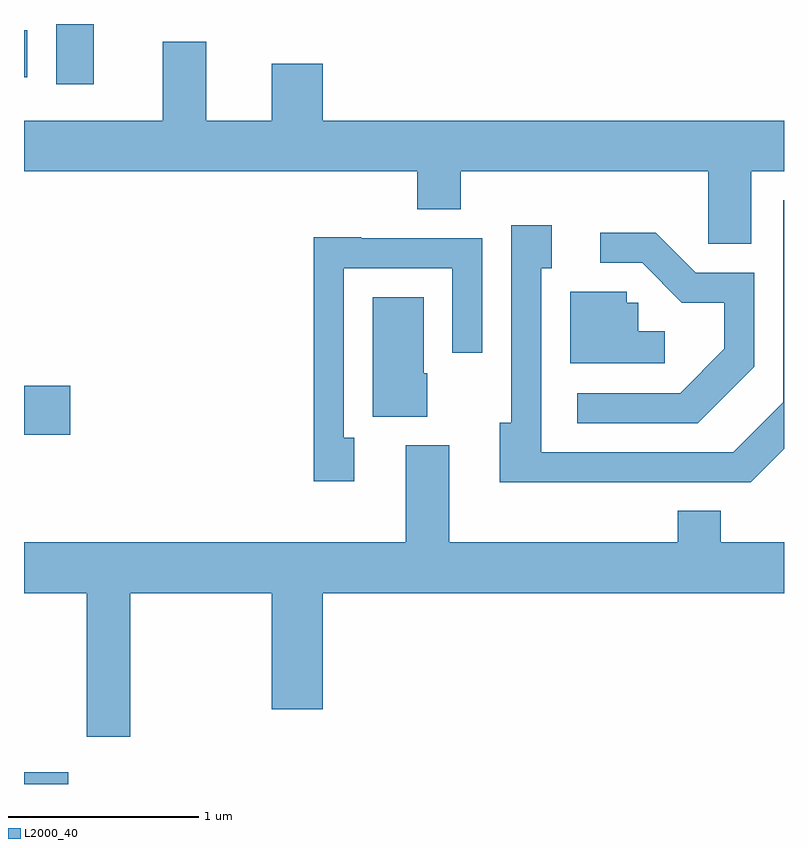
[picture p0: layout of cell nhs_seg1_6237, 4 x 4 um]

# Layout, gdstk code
import gdstk
lib = gdstk.Library(unit=1e-6, precision=1e-09)
def R(c, l, rs):  # rectangles x0, y0, x1, y1
    for r in rs: c.add(gdstk.rectangle(r[:2], r[2:], *l))
def P(c, l, *ps):  # polygons
    for p in ps: c.add(gdstk.Polygon(p, *l))
L2000_40 = (2000, 40)

nhs_seg1_6237 = lib.new_cell('nhs_seg1_6237')
R(nhs_seg1_6237, L2000_40, [(373.611,869.712,373.844,869.774), (373.611,871.551,373.854,871.809), (373.781,873.396,373.979,873.712), (373.611,873.431,373.629,873.679)])
P(nhs_seg1_6237, L2000_40, [(377.439,872.936),(377.611,872.936),(377.611,873.204),(375.184,873.204),(375.184,873.504),(374.916,873.504),(374.916,873.204),(374.569,873.204),(374.569,873.619),(374.341,873.619),(374.341,873.204),(373.611,873.204),(373.611,872.936),(375.681,872.936),(375.681,872.736),(375.909,872.736),(375.909,872.936),(377.211,872.936),(377.211,872.556),(377.439,872.556)],
  [(377.611,871.476),(377.611,872.784),(377.606,872.784),(377.606,871.722),(377.344,871.459),(376.334,871.459),(376.334,872.426),(376.389,872.426),(376.389,872.654),(376.176,872.654),(376.176,871.614),(376.116,871.614),(376.116,871.301),(377.437,871.301)],
  [(377.454,871.909),(377.454,872.404),(377.147,872.404),(376.937,872.614),(376.643,872.614),(376.643,872.456),(376.864,872.456),(377.074,872.246),(377.296,872.246),(377.296,872.002),(377.064,871.769),(376.523,871.769),(376.523,871.611),(377.157,871.611)],
  [(375.349,871.534),(375.294,871.534),(375.294,872.426),(375.866,872.426),(375.866,871.983),(376.024,871.983),(376.024,872.584),(375.385,872.584),(375.385,872.589),(375.136,872.589),(375.136,871.306),(375.349,871.306)],
  [(376.983,872.094),(376.844,872.094),(376.844,872.244),(376.784,872.244),(376.784,872.304),(376.486,872.304),(376.486,871.926),(376.983,871.926)],
  [(375.734,871.874),(375.714,871.874),(375.714,872.274),(375.446,872.274),(375.446,871.646),(375.734,871.646)],
  [(374.169,870.716),(374.916,870.716),(374.916,870.106),(375.184,870.106),(375.184,870.716),(377.611,870.716),(377.611,870.984),(377.279,870.984),(377.279,871.149),(377.051,871.149),(377.051,870.984),(375.849,870.984),(375.849,871.494),(375.621,871.494),(375.621,870.984),(373.611,870.984),(373.611,870.716),(373.941,870.716),(373.941,869.961),(374.169,869.961)])

lib.write_gds('nhs_seg1_6237.gds')
